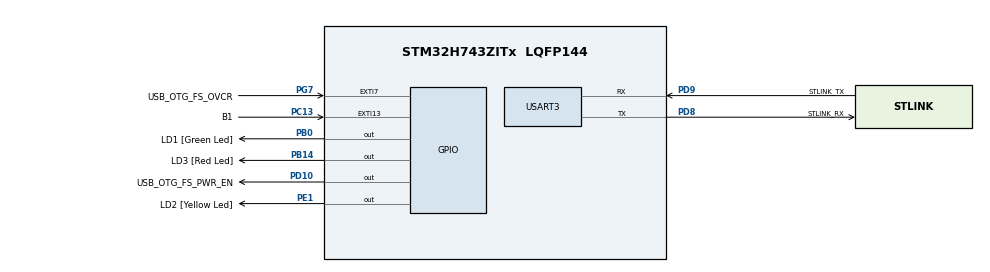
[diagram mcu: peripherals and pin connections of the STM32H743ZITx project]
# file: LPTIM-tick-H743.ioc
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CORTEX_M7.CPU_DCache=Enabled
CORTEX_M7.CPU_ICache=Enabled
FREERTOS.Tasks01=mainTask,24,256,mainOsTask,Default,NULL,Dynamic,NULL,NULL;tickTest,32,128,vTttOsTask,Default,argument,Dynamic,NULL,NULL
FREERTOS.Timers01=ledTimer,ledTimerCallback,osTimerPeriodic,Default,NULL,Dynamic,NULL;resultsTimer,resultsTimerCallback,osTimerPeriodic,Default,NULL,Dynamic,NULL
FREERTOS.configTIMER_TASK_PRIORITY=6
FREERTOS.configUSE_TICKLESS_IDLE=2
FREERTOS.configUSE_TICK_HOOK=1
LPTIM2.ClockPrescaler=LPTIM_PRESCALER_DIV1
Mcu.Family=STM32H7
Mcu.Name=STM32H743ZITx
Mcu.Package=LQFP144
NVIC.EXTI15_10_IRQn=true\:15\:0\:true\:false\:true\:true\:true\:true\:true
NVIC.LPTIM3_IRQn=true\:15\:0\:true\:false\:true\:true\:true\:true\:true
NVIC.PriorityGroup=NVIC_PRIORITYGROUP_4
NVIC.TIM6_DAC_IRQn=true\:15\:0\:false\:false\:true\:false\:false\:true\:true
NVIC.TimeBase=TIM6_DAC_IRQn
NVIC.TimeBaseIP=TIM6
NVIC.USART3_IRQn=true\:15\:0\:true\:false\:true\:true\:true\:true\:true
PA1.Signal=ETH_REF_CLK
PA11.Signal=USB_OTG_FS_DM
PA12.Signal=USB_OTG_FS_DP
PA13\ (JTMS/SWDIO).GPIO_Label=JTMS
PA13\ (JTMS/SWDIO).Signal=DEBUG_JTMS-SWDIO
PA14\ (JTCK/SWCLK).GPIO_Label=JTCK
PA14\ (JTCK/SWCLK).Signal=DEBUG_JTCK-SWCLK
PA2.Signal=ETH_MDIO
PA7.Signal=ETH_CRS_DV
PA8.Signal=USB_OTG_FS_SOF
PA9.Signal=USB_OTG_FS_VBUS
PB0.GPIO_Label=LD1 [Green Led]
PB0.Signal=GPIO_Output
PB13.Signal=ETH_TXD1
PB14.GPIO_Label=LD3 [Red Led]
PB14.Signal=GPIO_Output
PC1.Signal=ETH_MDC
PC13.GPIO_Label=B1
PC13.Signal=GPXTI13
PC14-OSC32_IN\ (OSC32_IN).Mode=LSE-External-Oscillator
PC14-OSC32_IN\ (OSC32_IN).Signal=RCC_OSC32_IN
PC15-OSC32_OUT\ (OSC32_OUT).Mode=LSE-External-Oscillator
PC15-OSC32_OUT\ (OSC32_OUT).Signal=RCC_OSC32_OUT
PC4.Signal=ETH_RXD0
PC5.Signal=ETH_RXD1
PD10.GPIO_Label=USB_OTG_FS_PWR_EN
PD10.Signal=GPIO_Output
PD8.GPIO_Label=STLINK_RX
PD8.Mode=Asynchronous
PD8.Signal=USART3_TX
PD9.GPIO_Label=STLINK_TX
PD9.Mode=Asynchronous
PD9.Signal=USART3_RX
PE1.GPIO_Label=LD2 [Yellow Led]
PE1.Signal=GPIO_Output
PG11.Signal=ETH_TX_EN
PG13.Signal=ETH_TXD0
PG7.GPIO_Label=USB_OTG_FS_OVCR
PG7.Signal=GPXTI7
PH0-OSC_IN\ (PH0).Signal=RCC_OSC_IN
PH1-OSC_OUT\ (PH1).Signal=RCC_OSC_OUT
ProjectManager.HeapSize=0x200
ProjectManager.StackSize=0x400
ProjectManager.TargetToolchain=Makefile
RCC.ADCFreq_Value=32250000
RCC.APB1Freq_Value=8000000
RCC.APB2Freq_Value=16000000
RCC.APB3Freq_Value=16000000
RCC.APB4Freq_Value=8000000
RCC.CortexFreq_Value=16000000
RCC.D2PPRE1=RCC_APB1_DIV2
RCC.D3PPRE=RCC_APB4_DIV2
RCC.HCLKFreq_Value=16000000
RCC.HSIDiv=RCC_PLLSAIDIVR_4
RCC.LPTIM2CLockSelection=RCC_LPTIM2CLKSOURCE_LSE
RCC.LPTIM345CLockSelection=RCC_LPTIM345CLKSOURCE_LSE
RCC.ProductRev=revY
RCC.RTCClockSelection=RCC_RTCCLKSOURCE_LSE
RCC.SYSCLKFreq_VALUE=16000000
RCC.USART234578CLockSelection=RCC_USART234578CLKSOURCE_HSI
RCC.USBFreq_Value=32250000
RTC.AsynchPrediv=3
RTC.SynchPrediv=8191
USART3.VirtualMode-Asynchronous=VM_ASYNC
VP_FREERTOS_VS_CMSIS_V2.Mode=CMSIS_V2
VP_LPTIM2_VS_LPTIM_counterModeInternalClock.Mode=Counts__internal_clock_event_00
VP_LPTIM3_VS_LPTIM_counterModeInternalClock.Mode=Counts__internal_clock_event_00
VP_RTC_VS_RTC_Activate.Mode=RTC_Enabled
VP_SYS_VS_tim6.Mode=TIM6
board=NUCLEO-H743ZI2

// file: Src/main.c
/* USER CODE BEGIN Header */
/**
  ******************************************************************************
  * @file           : main.c
  * @brief          : Main program body
  ******************************************************************************
  * @attention
  *
  * Copyright (c) 2023 STMicroelectronics.
  * All rights reserved.
  *
  * This software is licensed under terms that can be found in the LICENSE file
  * in the root directory of this software component.
  * If no LICENSE file comes with this software, it is provided AS-IS.
  *
  ******************************************************************************
  */
/* USER CODE END Header */
#include "main.h"
#include "cmsis_os.h"

/* USER CODE BEGIN Includes */
#include "stm32h7xx_hal_rcc_ex.h"

#include <stdio.h>
#include <string.h>
#include "testTickTiming.h"
#include "ulp.h"
#include "timers.h"

/* USER CODE END Includes */

/* USER CODE BEGIN PTD */
#define RCC_APB4ENR_PWREN_Pos  28U
#define RCC_APB4ENR_PWREN_Msk  (1UL << RCC_APB4ENR_PWREN_Pos)
#define RCC_APB4ENR_PWREN      RCC_APB4ENR_PWREN_Msk

#define __HAL_RCC_PWR_CLK_ENABLE()   (RCC->APB4ENR |= RCC_APB4ENR_PWREN)
/* USER CODE END PTD */

/* USER CODE BEGIN PD */
#define NOTIFICATION_FLAG_B1_PIN    (1UL << 0)
#define NOTIFICATION_FLAG_LED_BLIP  (1UL << 1)
#define NOTIFICATION_FLAG_RESULTS   (1UL << 2)
/* USER CODE END PD */

LPTIM_HandleTypeDef hlptim3;

RTC_HandleTypeDef hrtc;

UART_HandleTypeDef huart3;

/* Definitions for mainTask */
osThreadId_t mainTaskHandle;
const osThreadAttr_t mainTask_attributes = {
  .name = "mainTask",
  .stack_size = 256 * 4,
  .priority = (osPriority_t) osPriorityNormal,
};
/* Definitions for tickTest */
osThreadId_t tickTestHandle;
const osThreadAttr_t tickTest_attributes = {
  .name = "tickTest",
  .stack_size = 128 * 4,
  .priority = (osPriority_t) osPriorityAboveNormal,
};
/* Definitions for ledTimer */
osTimerId_t ledTimerHandle;
const osTimerAttr_t ledTimer_attributes = {
  .name = "ledTimer"
};
/* Definitions for resultsTimer */
osTimerId_t resultsTimerHandle;
const osTimerAttr_t resultsTimer_attributes = {
  .name = "resultsTimer"
};

/* USER CODE BEGIN PV */
static GPIO_TypeDef* demoLedPort = LD2_GPIO_Port;
static uint16_t demoLedPin = LD2_Pin;
volatile uint8_t useAltLed = 0;
volatile uint8_t stayAwake= 0;

/* USER CODE END PV */

void SystemClock_Config(void);
static void MX_GPIO_Init(void);
static void MX_USART3_UART_Init(void);
// static void MX_RTC_Init(void);
static void MX_LPTIM3_Init(void);
void mainOsTask(void *argument);
void ledTimerCallback(void *argument);
void resultsTimerCallback(void *argument);

/* USER CODE BEGIN PFP */
extern void vTttOsTask(void *argument);

/* USER CODE END PFP */

/* USER CODE BEGIN 0 */
#define DEMO_STATE_TEST_1  0
#define DEMO_STATE_TEST_2  1
#define DEMO_STATE_TEST_3  2
#define MAX_DEMO_STATE     DEMO_STATE_TEST_3
static void vSetDemoState( BaseType_t state )
{
   //      Assume for now that we're activating a demo state that doesn't need LPTIM3, our stress-test actor.
   //
   if (LPTIM3->CR & LPTIM_CR_ENABLE)
   {
      HAL_LPTIM_Counter_Stop_IT(&hlptim3);
      vUlpOnPeripheralsInactive(ulpPERIPHERAL_LPTIM3);
   }

   uint32_t ledIntervalMs = 0;
   if (state == DEMO_STATE_TEST_1)
   {

      demoLedPort = LD1_GPIO_Port;
      demoLedPin = LD1_Pin;
      //      Demonstrate minimum energy consumption.  With configUSE_TICKLESS_IDLE == 2 (lptimTick.c), we
      // draw only 2uA, with RTC, and with FreeRTOS timers/timeouts/delays active.
      //
      ledIntervalMs = 5000UL;
      vTttSetEvalInterval(pdMS_TO_TICKS(2));
      osTimerStop(resultsTimerHandle);
   }
   else if (state == DEMO_STATE_TEST_2)
   {
      demoLedPort = LD2_GPIO_Port;
      demoLedPin = LD2_Pin;
      //      Instruct the tick-timing test to sample the tick timing every 10 milliseconds.  Sampling faster
      // would require that we open the pass/fail criteria to accommodate a couple hundred microseconds of
      // jitter or tick "jump" since that criteria is expressed as a percentage of the sampling interval.
      // Sampling much slower might allow large jitter or "jump" that should be caught as an error, again
      // because jitter is measured as a percentage of the sampling interval.
      //
      #define TICK_TEST_SAMPLING_INTERVAL_MS 10

      //      Demonstrate energy consumption waking every 10ms, and test the tick timing.
      //
      ledIntervalMs = 2000UL;
      vTttSetEvalInterval( pdMS_TO_TICKS(TICK_TEST_SAMPLING_INTERVAL_MS) );
      osTimerStart(resultsTimerHandle, 1000UL);
   }
   else if (state == DEMO_STATE_TEST_3)
   {

      demoLedPort = LD3_GPIO_Port;
      demoLedPin = LD3_Pin;
      //      In state 2, add an actor to stress the tick timing.  Use LPTIM3 interrupts since that timer
      // keeps operating in STOP 1 mode, which allows us to keep demonstrating low-power operation.
      //
      //      Carefully select the interval of the nuisance interrupts to be slightly longer than the tick-
      // test sampling interval.  The sampling interval drives the "expected idle time" in the tickless logic,
      // so a nuisance interval slightly longer ensures lots of different interrupt timing, including some
      // tickless periods lasting the full expected idle time.  For example, with a 10ms sampling interval,
      // there are 327.68 LSE cycles between samplings, on average.  The code below would set up the nuisance
      // interrupt to be every 328 LSE cycles for that case.  (The value passed to the HAL is 327, but the
      // period ends up being 328 due to LPTIM reload behavior.)
      //
      //      Based on the discussion above, a good long soak test is strongly recommended here.
      //
      vUlpOnPeripheralsActive(ulpPERIPHERAL_LPTIM3);
      HAL_LPTIM_Counter_Start_IT(&hlptim3, (TICK_TEST_SAMPLING_INTERVAL_MS * LSE_VALUE) / 1000U);

      ledIntervalMs = 1000UL;
      vTttSetEvalInterval( pdMS_TO_TICKS(TICK_TEST_SAMPLING_INTERVAL_MS) );
      osTimerStart(resultsTimerHandle, 1000UL);
   }
   else
   {
      configASSERT(0);
   }

   if (ledIntervalMs != 0)
   {
      osTimerStart(ledTimerHandle, ledIntervalMs);
      xTaskNotify(mainTaskHandle, NOTIFICATION_FLAG_LED_BLIP, eSetBits);
   }

   char banner[100];
   int len = sprintf(banner, "\r\n\r\nRunning Test %d.", (int)state + 1);
   if (state != DEMO_STATE_TEST_1)
   {
      len += sprintf(&banner[len], "  Jumps are shown as %% of %d ms.\r\n",
                     TICK_TEST_SAMPLING_INTERVAL_MS);
   }
   HAL_UART_Transmit(&huart3, (uint8_t*)banner, len, HAL_MAX_DELAY);
}

static int lDescribeTickTestResults(TttResults_t* results, int periodNumber, char* dest)
{
   int durationSeconds = (results->durationSs + results->subsecondsPerSecond/2) / results->subsecondsPerSecond;
   return (sprintf(dest, "Period %d: %d s, drift: %d/%d s, jump: %+d%% (min), %+d%% (max)",
                   periodNumber,
                   durationSeconds,
                   (int)results->driftSs, (int) results->subsecondsPerSecond,
                   results->minDriftRatePct,
                   results->maxDriftRatePct));
}

static BaseType_t xUpdateResults( int xDemoState )
{
   static int resultsCount = 0;

   TttResults_t complete, inProgress;
   vTttGetResults(&complete, &inProgress);

   //      Build the results text here.  Use a "large" buffer because the results might require two lines of
   // terminal output.  The buffer is static so its contents remain valid even after we return from this
   // function.  In turn this allows us to return to our caller without waiting for the UART to finish.
   //
   static char textResults[200];
   static const char* const eraseLine = "\r\x1B[K";
   int resultsLen = sprintf(textResults, "%s", eraseLine);

   if (resultsCount != complete.resultsCounter)
   {
      resultsCount = complete.resultsCounter;
      if (resultsCount != 0)
      {
         resultsLen += lDescribeTickTestResults(&complete, resultsCount, &textResults[resultsLen]);
         resultsLen += sprintf(&textResults[resultsLen], "\r\n");
      }
   }

   resultsLen += lDescribeTickTestResults(&inProgress, resultsCount + 1, &textResults[resultsLen]);

   //      Send the results to the terminal.  In test 3, use interrupt-driven I/O with the terminal as
   // a way to enhance the stress test.  The interrupts induce a rapid sequence of early wake-ups from
   // tickless idle (if enabled).  This barrage of early wake-ups is a great stress test for the tickless
   // logic.  In the other demo states, use busy-wait I/O to avoid adding a test actor when we don't want one.
   //
   if (xDemoState == DEMO_STATE_TEST_3)
   {
      vUlpOnPeripheralsActive(ulpPERIPHERAL_USART3);
      HAL_UART_Transmit_IT(&huart3, (uint8_t*)textResults, resultsLen);
   }
   else
   {
      //      Because busy-wait I/O keeps this task "ready", it also prevents tickless idle, so we don't need
      // to bother notifying the ULP driver that the UART peripheral is active.
      //
      // vUlpOnPeripheralsActive(ulpPERIPHERAL_USART3);
      HAL_UART_Transmit(&huart3, (uint8_t*)textResults, resultsLen, HAL_MAX_DELAY);
      // vUlpOnPeripheralsInactive(ulpPERIPHERAL_USART3);
   }

   //      Apply some pass/fail criteria and report any failures.
   //
   BaseType_t isFailure = pdFALSE;
   if (inProgress.minDriftRatePct < -2 || inProgress.maxDriftRatePct > 2)
   {
      isFailure = pdTRUE;
   }

   return (isFailure);
}

void HAL_UART_TxCpltCallback(UART_HandleTypeDef *huart)
{
   vUlpOnPeripheralsInactiveFromISR(ulpPERIPHERAL_USART3);
}

// void vBlipLed( uint32_t ms )
// {
//    HAL_GPIO_WritePin(LD2_GPIO_Port, LD2_Pin, GPIO_PIN_SET);
//    osDelay(ms);
//    HAL_GPIO_WritePin(LD2_GPIO_Port, LD2_Pin, GPIO_PIN_RESET);
// }

void vBlipLed(GPIO_TypeDef* port, uint16_t pin, uint32_t ms)
{
   HAL_GPIO_WritePin(port, pin, GPIO_PIN_SET);
   osDelay(ms);
   HAL_GPIO_WritePin(port, pin, GPIO_PIN_RESET);
}

/* USER CODE END 0 */

int main(void)
{
/* Enable the CPU Cache */

  /* Enable I-Cache---------------------------------------------------------*/
  SCB_EnableICache();

  /* Enable D-Cache---------------------------------------------------------*/
  SCB_EnableDCache();

  /* MCU Configuration--------------------------------------------------------*/

  /* Reset of all peripherals, Initializes the Flash interface and the Systick. */
  HAL_Init();

  /* USER CODE BEGIN Init */

  //      Compensate for a CubeMX omission in HAL_InitTick() in stm32l4xx_hal_timebase_tim.c.
  //
  uwTickPrio = TICK_INT_PRIORITY;

  /* USER CODE END Init */

  /* Configure the system clock */
  SystemClock_Config();

  /* USER CODE BEGIN SysInit */

  //      Initialize Ultra-Low Power support (ULP).
  //
  vUlpInit();
  /* USER CODE END SysInit */

  /* Initialize all configured peripherals */
  MX_GPIO_Init();
  MX_USART3_UART_Init();
  MX_RTC_Init();
  MX_LPTIM3_Init();
  /* USER CODE BEGIN 2 */

  //      If the user is currently holding the blue button down, clear DBGMCU->CR.  This step prevents the
  // debugger from keeping clocks and regulators running when we use a low-power mode.  This in turn allows
  // the user to observe the "true" impact of low-power modes on current consumption.  Note that the debugger
  // will lose its connection as soon as we use a low-power mode, but we don't have any choice if we want to
  // see "true" current consumption.
  //
  if ( HAL_GPIO_ReadPin(B1_GPIO_Port, B1_Pin) == GPIO_PIN_SET )  // In H743Nucleo the blue button is pulled up
  {
     DBGMCU->CR = 0; // POR and BOR also clear this register, but not the reset pin, and not other resets.
  }

  /* USER CODE END 2 */

  /* Init scheduler */
  osKernelInitialize();

  /* Create the timer(s) */
  /* creation of ledTimer */
  ledTimerHandle = osTimerNew(ledTimerCallback, osTimerPeriodic, NULL, &ledTimer_attributes);

  /* creation of resultsTimer */
  resultsTimerHandle = osTimerNew(resultsTimerCallback, osTimerPeriodic, NULL, &resultsTimer_attributes);

  /* Create the thread(s) */
  /* creation of mainTask */
  mainTaskHandle = osThreadNew(mainOsTask, NULL, &mainTask_attributes);

  /* creation of tickTest */
  // tickTestHandle = osThreadNew(vTttOsTask, &hrtc, &tickTest_attributes);

  /* Start scheduler */
  osKernelStart();
  /* We should never get here as control is now taken by the scheduler */
  /* Infinite loop */
  while (1)
  {

  }
}

void SystemClock_Config(void)
{
  RCC_OscInitTypeDef RCC_OscInitStruct = {0};
  RCC_ClkInitTypeDef RCC_ClkInitStruct = {0};

  /** Supply configuration update enable
  */
  HAL_PWREx_ConfigSupply(PWR_LDO_SUPPLY);

  /** Configure the main internal regulator output voltage
  */
  __HAL_PWR_VOLTAGESCALING_CONFIG(PWR_REGULATOR_VOLTAGE_SCALE3);

  while(!__HAL_PWR_GET_FLAG(PWR_FLAG_VOSRDY)) {}

  /** Configure LSE Drive Capability
  */
  HAL_PWR_EnableBkUpAccess();
  __HAL_RCC_LSEDRIVE_CONFIG(RCC_LSEDRIVE_LOW);

  /** Initializes the RCC Oscillators according to the specified parameters
  * in the RCC_OscInitTypeDef structure.
  */
  RCC_OscInitStruct.OscillatorType = RCC_OSCILLATORTYPE_HSI|RCC_OSCILLATORTYPE_LSE;
  RCC_OscInitStruct.LSEState = RCC_LSE_ON;
  RCC_OscInitStruct.HSIState = RCC_HSI_DIV4;
  RCC_OscInitStruct.HSICalibrationValue = RCC_HSICALIBRATION_DEFAULT;
  RCC_OscInitStruct.PLL.PLLState = RCC_PLL_NONE;
  if (HAL_RCC_OscConfig(&RCC_OscInitStruct) != HAL_OK)
  {
    Error_Handler();
  }

  /** Initializes the CPU, AHB and APB buses clocks
  */
  RCC_ClkInitStruct.ClockType = RCC_CLOCKTYPE_HCLK|RCC_CLOCKTYPE_SYSCLK
                              |RCC_CLOCKTYPE_PCLK1|RCC_CLOCKTYPE_PCLK2
                              |RCC_CLOCKTYPE_D3PCLK1|RCC_CLOCKTYPE_D1PCLK1;
  RCC_ClkInitStruct.SYSCLKSource = RCC_SYSCLKSOURCE_HSI;
  RCC_ClkInitStruct.SYSCLKDivider = RCC_SYSCLK_DIV1;
  RCC_ClkInitStruct.AHBCLKDivider = RCC_HCLK_DIV1;
  RCC_ClkInitStruct.APB3CLKDivider = RCC_APB3_DIV1;
  RCC_ClkInitStruct.APB1CLKDivider = RCC_APB1_DIV2;
  RCC_ClkInitStruct.APB2CLKDivider = RCC_APB2_DIV1;
  RCC_ClkInitStruct.APB4CLKDivider = RCC_APB4_DIV2;

  if (HAL_RCC_ClockConfig(&RCC_ClkInitStruct, FLASH_LATENCY_0) != HAL_OK)
  {
    Error_Handler();
  }
}

static void MX_LPTIM3_Init(void)
{

  hlptim3.Instance = LPTIM3;
  hlptim3.Init.Clock.Source = LPTIM_CLOCKSOURCE_APBCLOCK_LPOSC;
  hlptim3.Init.Clock.Prescaler = LPTIM_PRESCALER_DIV1;
  hlptim3.Init.Trigger.Source = LPTIM_TRIGSOURCE_SOFTWARE;
  hlptim3.Init.OutputPolarity = LPTIM_OUTPUTPOLARITY_HIGH;
  hlptim3.Init.UpdateMode = LPTIM_UPDATE_IMMEDIATE;
  hlptim3.Init.CounterSource = LPTIM_COUNTERSOURCE_INTERNAL;
  hlptim3.Init.Input1Source = LPTIM_INPUT1SOURCE_GPIO;
  if (HAL_LPTIM_Init(&hlptim3) != HAL_OK)
  {
    Error_Handler();
  }
  /* USER CODE BEGIN LPTIM3_Init 2 */
  // This is required for LPTIM3 to work in stop mode.
  __HAL_RCC_LPTIM3_CLKAM_ENABLE();
  // The same for sleep mode.
  __HAL_RCC_LPTIM3_CLK_SLEEP_ENABLE();
  /* USER CODE END LPTIM3_Init 2 */

}

void MX_RTC_Init(void)
{

  /* USER CODE BEGIN RTC_Init 0 */
  __HAL_RCC_RTC_ENABLE();
  __HAL_RCC_PWR_CLK_ENABLE();
  HAL_PWR_EnableBkUpAccess();

  RCC_OscInitTypeDef RCC_OscInitStruct = {0};
  RCC_PeriphCLKInitTypeDef PeriphClkInitStruct = {0};

    // Configure LSE as RTC clock source
  RCC_OscInitStruct.OscillatorType = RCC_OSCILLATORTYPE_LSE;
  RCC_OscInitStruct.LSEState = RCC_LSE_ON;
  RCC_OscInitStruct.PLL.PLLState = RCC_PLL_NONE;
  HAL_RCC_OscConfig(&RCC_OscInitStruct);

  PeriphClkInitStruct.PeriphClockSelection = RCC_PERIPHCLK_RTC;
  PeriphClkInitStruct.RTCClockSelection = RCC_RTCCLKSOURCE_LSE;
  HAL_RCCEx_PeriphCLKConfig(&PeriphClkInitStruct);

  /* USER CODE END RTC_Init 0 */

  /** Initialize RTC Only
  */
  hrtc.Instance = RTC;
  hrtc.Init.HourFormat = RTC_HOURFORMAT_24;
  hrtc.Init.AsynchPrediv = 127;
  hrtc.Init.SynchPrediv = 255;
  hrtc.Init.OutPut = RTC_OUTPUT_DISABLE;
  hrtc.Init.OutPutPolarity = RTC_OUTPUT_POLARITY_HIGH;
  hrtc.Init.OutPutType = RTC_OUTPUT_TYPE_OPENDRAIN;
  // hrtc.Init.OutPutRemap = RTC_OUTPUT_REMAP_NONE;
  if (HAL_RTC_Init(&hrtc) != HAL_OK)
  {
    Error_Handler();
  }

}

static void MX_USART3_UART_Init(void)
{

  huart3.Instance = USART3;
  huart3.Init.BaudRate = 115200;
  huart3.Init.WordLength = UART_WORDLENGTH_8B;
  huart3.Init.StopBits = UART_STOPBITS_1;
  huart3.Init.Parity = UART_PARITY_NONE;
  huart3.Init.Mode = UART_MODE_TX_RX;
  huart3.Init.HwFlowCtl = UART_HWCONTROL_NONE;
  huart3.Init.OverSampling = UART_OVERSAMPLING_16;
  huart3.Init.OneBitSampling = UART_ONE_BIT_SAMPLE_DISABLE;
  huart3.Init.ClockPrescaler = UART_PRESCALER_DIV1;
  huart3.AdvancedInit.AdvFeatureInit = UART_ADVFEATURE_NO_INIT;
  if (HAL_UART_Init(&huart3) != HAL_OK)
  {
    Error_Handler();
  }
  if (HAL_UARTEx_SetTxFifoThreshold(&huart3, UART_TXFIFO_THRESHOLD_1_8) != HAL_OK)
  {
    Error_Handler();
  }
  if (HAL_UARTEx_SetRxFifoThreshold(&huart3, UART_RXFIFO_THRESHOLD_1_8) != HAL_OK)
  {
    Error_Handler();
  }
  if (HAL_UARTEx_DisableFifoMode(&huart3) != HAL_OK)
  {
    Error_Handler();
  }

}

static void MX_GPIO_Init(void)
{
  GPIO_InitTypeDef GPIO_InitStruct = {0};

  /* GPIO Ports Clock Enable */
  __HAL_RCC_GPIOC_CLK_ENABLE();
  __HAL_RCC_GPIOH_CLK_ENABLE();
  __HAL_RCC_GPIOA_CLK_ENABLE();
  __HAL_RCC_GPIOB_CLK_ENABLE();
  __HAL_RCC_GPIOD_CLK_ENABLE();
  __HAL_RCC_GPIOG_CLK_ENABLE();
  __HAL_RCC_GPIOE_CLK_ENABLE();

  /*Configure GPIO pin Output Level */
  HAL_GPIO_WritePin(GPIOB, LD1_Pin|LD3_Pin, GPIO_PIN_RESET);

  /*Configure GPIO pin Output Level */
  HAL_GPIO_WritePin(USB_OTG_FS_PWR_EN_GPIO_Port, USB_OTG_FS_PWR_EN_Pin, GPIO_PIN_RESET);

  /*Configure GPIO pin Output Level */
  HAL_GPIO_WritePin(LD2_GPIO_Port, LD2_Pin, GPIO_PIN_RESET);

  /*Configure GPIO pin : B1_Pin */
  GPIO_InitStruct.Pin = B1_Pin;
  GPIO_InitStruct.Mode = GPIO_MODE_IT_RISING;
  GPIO_InitStruct.Pull = GPIO_NOPULL;
  // GPIO_InitStruct.Pull = GPIO_PULLUP;
  HAL_GPIO_Init(B1_GPIO_Port, &GPIO_InitStruct);

  /*Configure GPIO pins : PC1 PC4 PC5 */
  GPIO_InitStruct.Pin = GPIO_PIN_1|GPIO_PIN_4|GPIO_PIN_5;
  GPIO_InitStruct.Mode = GPIO_MODE_AF_PP;
  GPIO_InitStruct.Pull = GPIO_NOPULL;
  GPIO_InitStruct.Speed = GPIO_SPEED_FREQ_LOW;
  GPIO_InitStruct.Alternate = GPIO_AF11_ETH;
  HAL_GPIO_Init(GPIOC, &GPIO_InitStruct);

  /*Configure GPIO pins : PA1 PA2 PA7 */
  GPIO_InitStruct.Pin = GPIO_PIN_1|GPIO_PIN_2|GPIO_PIN_7;
  GPIO_InitStruct.Mode = GPIO_MODE_AF_PP;
  GPIO_InitStruct.Pull = GPIO_NOPULL;
  GPIO_InitStruct.Speed = GPIO_SPEED_FREQ_LOW;
  GPIO_InitStruct.Alternate = GPIO_AF11_ETH;
  HAL_GPIO_Init(GPIOA, &GPIO_InitStruct);

  /*Configure GPIO pins : LD1_Pin LD3_Pin */
  GPIO_InitStruct.Pin = LD1_Pin|LD3_Pin;
  GPIO_InitStruct.Mode = GPIO_MODE_OUTPUT_PP;
  GPIO_InitStruct.Pull = GPIO_NOPULL;
  GPIO_InitStruct.Speed = GPIO_SPEED_FREQ_LOW;
  HAL_GPIO_Init(GPIOB, &GPIO_InitStruct);

  /*Configure GPIO pin : PB13 */
  GPIO_InitStruct.Pin = GPIO_PIN_13;
  GPIO_InitStruct.Mode = GPIO_MODE_AF_PP;
  GPIO_InitStruct.Pull = GPIO_NOPULL;
  GPIO_InitStruct.Speed = GPIO_SPEED_FREQ_LOW;
  GPIO_InitStruct.Alternate = GPIO_AF11_ETH;
  HAL_GPIO_Init(GPIOB, &GPIO_InitStruct);

  /*Configure GPIO pin : USB_OTG_FS_PWR_EN_Pin */
  GPIO_InitStruct.Pin = USB_OTG_FS_PWR_EN_Pin;
  GPIO_InitStruct.Mode = GPIO_MODE_OUTPUT_PP;
  GPIO_InitStruct.Pull = GPIO_NOPULL;
  GPIO_InitStruct.Speed = GPIO_SPEED_FREQ_LOW;
  HAL_GPIO_Init(USB_OTG_FS_PWR_EN_GPIO_Port, &GPIO_InitStruct);

  /*Configure GPIO pin : USB_OTG_FS_OVCR_Pin */
  GPIO_InitStruct.Pin = USB_OTG_FS_OVCR_Pin;
  GPIO_InitStruct.Mode = GPIO_MODE_IT_RISING;
  GPIO_InitStruct.Pull = GPIO_NOPULL;
  HAL_GPIO_Init(USB_OTG_FS_OVCR_GPIO_Port, &GPIO_InitStruct);

  /*Configure GPIO pins : PA8 PA11 PA12 */
  GPIO_InitStruct.Pin = GPIO_PIN_8|GPIO_PIN_11|GPIO_PIN_12;
  GPIO_InitStruct.Mode = GPIO_MODE_AF_PP;
  GPIO_InitStruct.Pull = GPIO_NOPULL;
  GPIO_InitStruct.Speed = GPIO_SPEED_FREQ_LOW;
  GPIO_InitStruct.Alternate = GPIO_AF10_OTG1_FS;
  HAL_GPIO_Init(GPIOA, &GPIO_InitStruct);

  /*Configure GPIO pins : PG11 PG13 */
  GPIO_InitStruct.Pin = GPIO_PIN_11|GPIO_PIN_13;
  GPIO_InitStruct.Mode = GPIO_MODE_AF_PP;
  GPIO_InitStruct.Pull = GPIO_NOPULL;
  GPIO_InitStruct.Speed = GPIO_SPEED_FREQ_LOW;
  GPIO_InitStruct.Alternate = GPIO_AF11_ETH;
  HAL_GPIO_Init(GPIOG, &GPIO_InitStruct);

  /*Configure GPIO pin : LD2_Pin */
  GPIO_InitStruct.Pin = LD2_Pin;
  GPIO_InitStruct.Mode = GPIO_MODE_OUTPUT_PP;
  GPIO_InitStruct.Pull = GPIO_NOPULL;
  GPIO_InitStruct.Speed = GPIO_SPEED_FREQ_LOW;
  HAL_GPIO_Init(LD2_GPIO_Port, &GPIO_InitStruct);

  /* EXTI interrupt init*/
  HAL_NVIC_SetPriority(EXTI15_10_IRQn, 5, 0);
  HAL_NVIC_EnableIRQ(EXTI15_10_IRQn);
  HAL_NVIC_SetPriority(RTC_WKUP_IRQn, configLIBRARY_MAX_SYSCALL_INTERRUPT_PRIORITY, 0);
  HAL_NVIC_EnableIRQ(RTC_WKUP_IRQn);

}

/* USER CODE BEGIN 4 */

void HAL_GPIO_EXTI_Callback(uint16_t GPIO_Pin)
{
   if (GPIO_Pin == B1_Pin)
   {
      //      Don't attempt to notify a task that isn't yet created.  Drop the button press instead.
      //
      // Change to force staying awake for 10 seconds
      // demoLedPort = LD3_GPIO_Port;
      // demoLedPin = LD3_Pin;
      // vBlipLed(demoLedPort, demoLedPin, 100UL);
      // ulpForceAwakeForMs(10000UL);  // 10 seconds
      useAltLed ^= 1;  // Toggle between 0 and 1
      stayAwake ^= 1;  // Toggle between 0 and 1
      if ( mainTaskHandle != NULL )
      {
         BaseType_t xWasHigherPriorityTaskWoken = pdFALSE;
         xTaskNotifyFromISR( mainTaskHandle, NOTIFICATION_FLAG_B1_PIN, eSetBits, &xWasHigherPriorityTaskWoken);
         portYIELD_FROM_ISR(xWasHigherPriorityTaskWoken);
      }
   }
}

void HAL_LPTIM_AutoReloadMatchCallback(LPTIM_HandleTypeDef *hlptim)
{
   //      The HAL calls this function when LPTIM3 has an ARR match event.  We use LPTIM3 as a stress-test
   // actor during test state 2.  This function has nothing to do with lptimTick.c or LPTIM3, but it does
   // help us *test* the tick timing provided by that code and that timer.

   //      Wake the main task, but for no reason.  We're just trying to stress test the tick timing.
   //
   BaseType_t xWasHigherPriorityTaskWoken = pdFALSE;
   xTaskNotifyFromISR( mainTaskHandle, 0, eNoAction, &xWasHigherPriorityTaskWoken);
   portYIELD_FROM_ISR(xWasHigherPriorityTaskWoken);
}

/* USER CODE END 4 */

void mainOsTask(void *argument)
{
  //  USER CODE BEGIN 5

   //      Stop the timer that provides the HAL tick.  Now it won't needlessly interrupt tickless idle periods
   // that use sleep mode.  (The HAL tick already can't interrupt tickless idle periods that use stop mode,
   // because the HAL timer doesn't operate in stop mode.)  In a real application, the HAL tick might be
   // required by the HAL even after FreeRTOS has control.  It's still best to stop the timer here, and then
   // define HAL_GetTick() and HAL_Delay() to use the FreeRTOS tick (and delay) once available.
   //
   //      We don't call HAL_SuspendTick() here because that function leaves TIM6 enabled and running for no
   // reason.
   //
   TIM6->CR1 &= ~TIM_CR1_CEN;  // wish CubeMX would generate a symbol for the HAL tick timer

   //      Be sure LPTIM3 ignores its input clock when the debugger stops program execution.
   //
   taskDISABLE_INTERRUPTS();
   __HAL_DBGMCU_FREEZE_LPTIM3();
   taskENABLE_INTERRUPTS();

   //      Start the demo on test 1.
   //
   BaseType_t xDemoState = DEMO_STATE_TEST_1;
   vSetDemoState(xDemoState);

   int isFailureDetected = pdFALSE;
   uint32_t notificationFlags;
   for(;;)
   {
      //      Wait forever for any notification.
      //
      xTaskNotifyWait(0, UINT32_MAX, &notificationFlags, portMAX_DELAY);

      if (notificationFlags & NOTIFICATION_FLAG_B1_PIN)
      {
         //      Advance the demo state in response to the button press.  Clear any previous test failures.
         //
         if (++xDemoState > MAX_DEMO_STATE )
         {
            xDemoState = DEMO_STATE_TEST_1;
         }

         vSetDemoState(xDemoState);

         isFailureDetected = pdFALSE;
      }

      if (notificationFlags & NOTIFICATION_FLAG_RESULTS)
      {
         //      Make failure detections "sticky" so an observer can rely on the LED even for past failures.
         // We clear past failures when we advance the demo state above (for a button press).
         //
         if (xUpdateResults( xDemoState ))
         {
            isFailureDetected = pdTRUE;
         }
      }

      if (notificationFlags & NOTIFICATION_FLAG_LED_BLIP)
      {
         //      Blip the LED for 100ms.  Blip twice if the test has failed.
         //
        //  vBlipLed(100UL);
         vBlipLed(demoLedPort, demoLedPin, 100UL);
         if (isFailureDetected)
         {
            osDelay(100UL);
            // vBlipLed(100UL);
            vBlipLed(demoLedPort, demoLedPin, 100UL);
         }
      }
  }
  //  USER CODE END 5
}

/* ledTimerCallback function */
void ledTimerCallback(void *argument)
{
  /* USER CODE BEGIN ledTimerCallback */
   UNUSED(argument);

   if ( mainTaskHandle != NULL )
   {
      xTaskNotify( mainTaskHandle, NOTIFICATION_FLAG_LED_BLIP, eSetBits );
   }

  /* USER CODE END ledTimerCallback */
}

/* resultsTimerCallback function */
void resultsTimerCallback(void *argument)
{
  /* USER CODE BEGIN resultsTimerCallback */
   UNUSED(argument);

   if ( mainTaskHandle != NULL )
   {
      xTaskNotify( mainTaskHandle, NOTIFICATION_FLAG_RESULTS, eSetBits );
   }

  /* USER CODE END resultsTimerCallback */
}

void HAL_TIM_PeriodElapsedCallback(TIM_HandleTypeDef *htim)
{
  if (htim->Instance == TIM6) {
    HAL_IncTick();
  }
}

void Error_Handler(void)
{
  __disable_irq();
  while (1)
  {
  }
}
